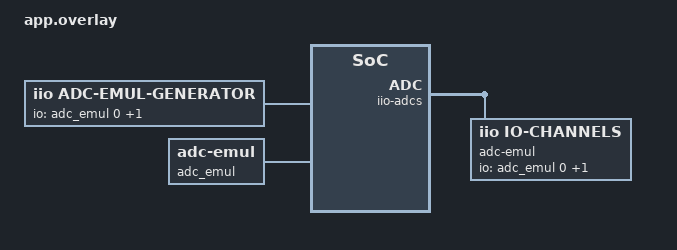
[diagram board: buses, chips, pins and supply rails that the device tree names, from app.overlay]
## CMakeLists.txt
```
# Copyright (c) 2026 Analog Devices, Inc.
# SPDX-License-Identifier: MIT

cmake_minimum_required(VERSION 3.20.0)
find_package(Zephyr REQUIRED HINTS $ENV{ZEPHYR_BASE})
project(libiio_iiod_concurrent)

target_sources(app PRIVATE src/main.c)
```

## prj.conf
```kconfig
# Copyright (c) 2026 Analog Devices, Inc.
# SPDX-License-Identifier: MIT

CONFIG_POSIX_API=y
CONFIG_LIBIIO=y
CONFIG_LIBIIO_MULTITHREADING=y

# Emulated ADC, so the test has channels to read without any hardware.
CONFIG_ADC=y
CONFIG_ADC_EMUL=y
CONFIG_EMUL=y

# Four clients, so the test can also drive one past the limit.
# Own port: the iiod sample uses the default 30431 on the same loopback and
# twister runs scenarios in parallel, so sharing it fails to bind.
CONFIG_LIBIIO_IIOD_NETWORK_PORT=30441

CONFIG_LIBIIO_IIOD_NETWORK_CLIENT_MAX=4

# Exactly one pool thread per connection, with no headroom, so the pool size is
# an assertion about the thread count and not just a limit: a responder that
# went back to spawning its own reader would exhaust the pool and the third
# client would fail to connect.
CONFIG_LIBIIO_THREAD_POOL_SIZE=4

# Errors only, so that when the assertion above does trip, the DUT log says
# which pool ran out instead of leaving the client with a bare broken pipe.
CONFIG_LOG=y
CONFIG_LIBIIO_LOG_LEVEL_ERR=y

# Headroom for four connections plus the 3 global tinyiiod mutexes.
CONFIG_LIBIIO_MUTEX_POOL_SIZE=48
CONFIG_LIBIIO_COND_POOL_SIZE=32
```

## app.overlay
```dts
/*
 * Copyright (c) 2026 Analog Devices, Inc.
 *
 * SPDX-License-Identifier: MIT
 */

/ {
	iio-context {
		iio-adcs {
			adc-emul {
				compatible = "iio,io-channels";
				io-channels = <&adc_emul 0>, <&adc_emul 1>;
				io-channel-names = "voltage0", "voltage1";
				io-name = "adc-emul";
			};
		};
	};

	generator {
		compatible = "iio,adc-emul-generator";
		io-channels = <&adc_emul 0>, <&adc_emul 1>;
	};

	adc_emul: adc {
		compatible = "zephyr,adc-emul";
		nchannels = <2>;
		ref-internal-mv = <3300>;
		ref-external1-mv = <5000>;
		#io-channel-cells = <1>;
		#address-cells = <1>;
		#size-cells = <0>;

		channel@0 {
			reg = <0>;
			zephyr,gain = "ADC_GAIN_1";
			zephyr,reference = "ADC_REF_INTERNAL";
			zephyr,acquisition-time = <ADC_ACQ_TIME_DEFAULT>;
			zephyr,resolution = <10>;
		};

		channel@1 {
			reg = <1>;
			zephyr,gain = "ADC_GAIN_1";
			zephyr,reference = "ADC_REF_INTERNAL";
			zephyr,acquisition-time = <ADC_ACQ_TIME_DEFAULT>;
			zephyr,resolution = <10>;
		};
	};
};
```

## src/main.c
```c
/*
 * Copyright (c) 2026 Analog Devices, Inc.
 *
 * SPDX-License-Identifier: MIT
 */

/* The network transport's own thread runs the server; the test drives it from the host. */
int main(void)
{
	return 0;
}
```
